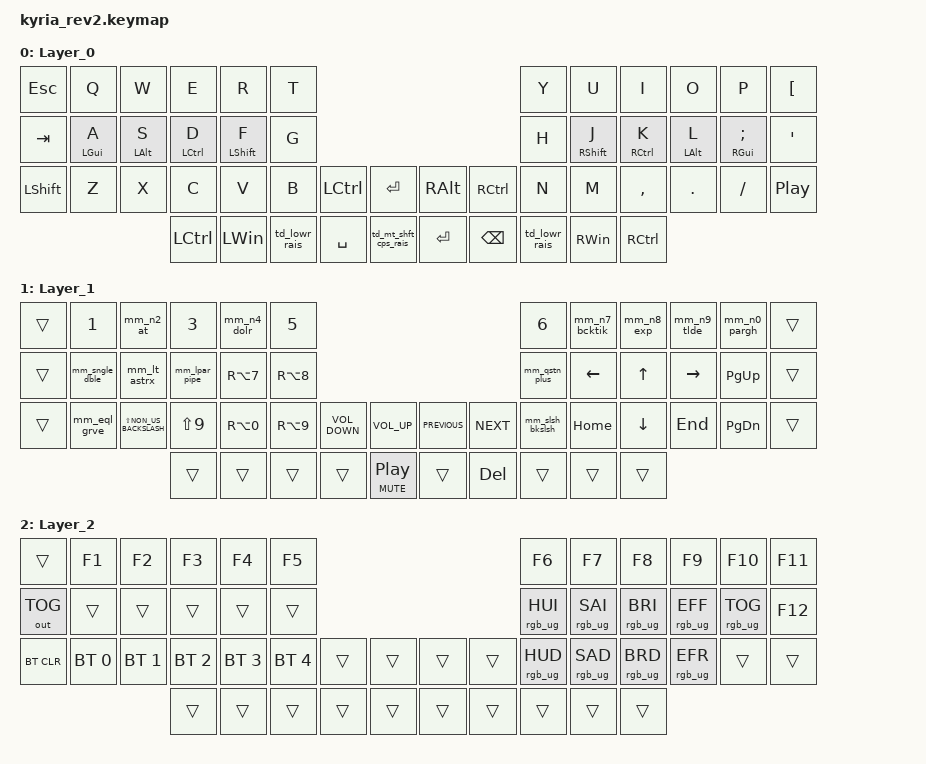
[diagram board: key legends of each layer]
// ################################################################
// ! This keymap is made to work with the SWEDISH keyboard layout !
// ################################################################

#include <behaviors.dtsi>
#include <dt-bindings/zmk/keys.h>
#include <dt-bindings/zmk/outputs.h>
#include <dt-bindings/zmk/rgb.h>
#include <dt-bindings/zmk/bt.h>
#include <dt-bindings/zmk/ext_power.h>
#include <dt-bindings/zmk/modifiers.h>

// (
#define SV_LPAR LS(N8)
// )
#define SV_RPAR LS(N9)
// {
#define SV_LBRAC RA(N7)
// }
#define SV_RBRAC RA(N0)
// [
#define SV_LBRAK RA(N8)
// ]
#define SV_RBRAK RA(N9)
// +
#define SV_PLUS MINUS
// ?
#define SV_QUESTION LS(MINUS)
// å
#define SV_AO LEFT_BRACKET
// ä
#define SV_AE SQT
// ö
#define SV_OE SEMICOLON
// '
#define SV_SINGLEQ BACKSLASH
// "
#define SV_DOUBLEQ LS(N2)
// <
#define SV_LESS NON_US_BACKSLASH
// >
#define SV_GREA LS(NON_US_BACKSLASH)
// /
#define SV_SLASH LS(N7)
// Backslash
#define SV_BACKSLASH RA(MINUS)
// @
#define SV_AT RA(N2)
// |
#define SV_PIPE RA(NON_US_BACKSLASH)
// =
#define SV_EQUAL LS(N0)
// *
#define SV_ASTERIX LS(BACKSLASH)
// $
#define SV_DOLLAR RA(N4)
// `
#define SV_BACKTICK LS(EQUAL)
// ^
#define SV_EXPONENT LS(RIGHT_BRACKET)
// ~
#define SV_TILDE RA(RIGHT_BRACKET)
// §
#define SV_PARAGRAPH GRAVE
// ´
#define SV_GRAVE EQUAL

/ {
    combos {
        compatible = "zmk,combos";

        combo_layer_2 {
            timeout-ms = <100>;
            bindings = <&mo 2>;
            key-positions = <42 47>;
        };
    };

    behaviors {
        hm: homerow_mods {
            compatible = "zmk,behavior-hold-tap";
            label = "homerow mods";
            #binding-cells = <2>;
            tapping_term_ms = <170>;
            flavor = "tap-preferred";
            bindings = <&kp>, <&kp>;
        };

        td_mt_shft_cps_rais: td_mt_shft_cps_rais {
            compatible = "zmk,behavior-tap-dance";
            label = "shift caps raise";
            #binding-cells = <0>;
            tapping-term-ms = <200>;
            bindings = <&mt LSHIFT CAPSLOCK>, <&mo 2>;
        };

        td_lowr_rais: td_lowr_rais {
            compatible = "zmk,behavior-tap-dance";
            label = "lower raise";
            #binding-cells = <0>;
            tapping-term-ms = <200>;
            bindings = <&mo 1>, <&mo 2>;
        };

        mm_n2_at: mm_n2_at {
            compatible = "zmk,behavior-mod-morph";
            label = "mm_n2_at";
            #binding-cells = <0>;
            bindings = <&kp N2>, <&kp SV_AT>;
            mods = <(MOD_LSFT|MOD_RSFT)>;
        };

        mm_n4_dolr: mm_n4_dolr {
            compatible = "zmk,behavior-mod-morph";
            label = "mm_n4_dolr";
            #binding-cells = <0>;
            bindings = <&kp N4>, <&kp SV_DOLLAR>;
            mods = <(MOD_LSFT|MOD_RSFT)>;
        };

        mm_n7_bcktik: mm_n7_bcktik {
            compatible = "zmk,behavior-mod-morph";
            label = "mm_n7_bcktik";
            #binding-cells = <0>;
            bindings = <&kp N7>, <&kp SV_BACKTICK>;
            mods = <(MOD_LSFT|MOD_RSFT)>;
            keep-mods = <(MOD_LSFT|MOD_RSFT)>;
        };

        mm_n8_exp: mm_n8_exp {
            compatible = "zmk,behavior-mod-morph";
            label = "mm_n8_exp";
            #binding-cells = <0>;
            bindings = <&kp N8>, <&kp SV_EXPONENT>;
            mods = <(MOD_LSFT|MOD_RSFT)>;
            keep-mods = <(MOD_LSFT|MOD_RSFT)>;
        };

        mm_n9_tlde: mm_n9_tlde {
            compatible = "zmk,behavior-mod-morph";
            label = "mm_n9_tlde";
            #binding-cells = <0>;
            bindings = <&kp N9>, <&kp SV_TILDE>;
            mods = <(MOD_LSFT|MOD_RSFT)>;
        };

        mm_n0_pargh: mm_n0_pargh {
            compatible = "zmk,behavior-mod-morph";
            label = "mm_n0_pargh";
            #binding-cells = <0>;
            bindings = <&kp N0>, <&kp SV_PARAGRAPH>;
            mods = <(MOD_LSFT|MOD_RSFT)>;
            keep-mods = <(MOD_LSFT|MOD_RSFT)>;
        };

        mm_sngle_dble: mm_sngle_dble {
            compatible = "zmk,behavior-mod-morph";
            label = "mm_sngle_dble";
            #binding-cells = <0>;
            bindings = <&kp SV_DOUBLEQ>, <&kp SV_SINGLEQ>;
            mods = <(MOD_LSFT|MOD_RSFT)>;
        };

        mm_eql_grve: mm_eql_grve {
            compatible = "zmk,behavior-mod-morph";
            label = "mm_eql_grve";
            #binding-cells = <0>;
            bindings = <&kp SV_EQUAL>, <&kp SV_GRAVE>;
            mods = <(MOD_LSFT|MOD_RSFT)>;
        };

        mm_lpar_pipe: mm_lpar_pipe {
            compatible = "zmk,behavior-mod-morph";
            label = "mm_lpar_pipe";
            #binding-cells = <0>;
            bindings = <&kp SV_LPAR>, <&kp SV_PIPE>;
            mods = <(MOD_LSFT|MOD_RSFT)>;
        };

        mm_lt_astrx: mm_lt_astrx {
            compatible = "zmk,behavior-mod-morph";
            label = "mm_lt_astrx";
            #binding-cells = <0>;
            bindings = <&kp SV_LESS>, <&kp SV_ASTERIX>;
            mods = <(MOD_LSFT|MOD_RSFT)>;
        };

        mm_qstn_plus: mm_qstn_plus {
            compatible = "zmk,behavior-mod-morph";
            label = "mm_qstn_plus";
            #binding-cells = <0>;
            bindings = <&kp SV_QUESTION>, <&kp SV_PLUS>;
            mods = <(MOD_LSFT|MOD_RSFT)>;
        };

        mm_slsh_bkslsh: mm_slsh_bkslsh {
            compatible = "zmk,behavior-mod-morph";
            label = "mm_slsh_bkslsh";
            #binding-cells = <0>;
            bindings = <&kp SV_SLASH>, <&kp SV_BACKSLASH>;
            mods = <(MOD_LSFT|MOD_RSFT)>;
        };
    };

    keymap {
        compatible = "zmk,keymap";

        Layer_0 {
            // -------------------------------------------------------------------------------------------------------------------------
            // |  ESC  |  Q  |  W  |   E   |  R   |  T  |                                    |  Y  |  U   |   I   |  O  |  P  |   Å   |
            // |  TAB  |  A  |  S  |   D   |  F   |  G  |                                    |  H  |  J   |   K   |  L  |  Ö  |   Ä   |
            // | SHIFT |  Z  |  X  |   C   |  V   |  B  | LCTRL | RETURN |  |  RALT  | RCTRL |  N  |  M   |  ,;   |  .: |  -  | SHIFT |
            //                     | LCTRL | LWIN | L 1 | SPACE | LSHIFT |  | RETURN | BKSPC | L 1 | RWIN | RCTRL |

            bindings = <
&kp ESC     &kp Q        &kp W        &kp E         &kp R          &kp T                                                                           &kp Y           &kp U          &kp I         &kp O        &kp P            &kp SV_AO
&kp TAB     &hm LGUI A   &hm LALT S   &hm LCTRL D   &hm LSHIFT F   &kp G                                                                           &kp H           &hm RSHIFT J   &hm RCTRL K   &hm LALT L   &hm RGUI SV_OE   &kp SV_AE
&kp LSHFT   &kp Z        &kp X        &kp C         &kp V          &kp B           &kp LCTRL   &kp RET                  &kp RALT   &kp RCTRL       &kp N           &kp M          &kp COMMA     &kp DOT      &kp SLASH        &kp C_PLAY_PAUSE
                                      &kp LCTRL     &kp LWIN       &td_lowr_rais   &kp SPACE   &td_mt_shft_cps_rais     &kp RET    &kp BACKSPACE   &td_lowr_rais   &kp RWIN       &kp RCTRL
            >;

            // sensor-bindings = <&inc_dec_kp C_VOLUME_UP C_VOLUME_DOWN>;
        };

        Layer_1 {
            // --------------------------------------------------------------------------------------------------------------------
            // |     | 1!  | 2@  | 3#  | 4$  | 5%  |                                       | 6&  |  7`  |  8^   |  9~  |  0§  |     |
            // |     | "'  | <*  | (|  |  {  |  [  |                                       | ?+  | LARR | UARR  | RARR | PGUP |     |
            // |     | =´  |  >  |  )  |  }  |  ]  | VOL D |  VOL U       |  | PREV | NEXT | /\  | HOME | DARR  | END  | PGDN |     |
            //                   |     |     |     | SPACE | PLPA -> MUTE |  |      | DEL  |     |      |       |

            bindings = <
&trans  &kp N1          &mm_n2_at     &kp N3         &mm_n4_dolr   &kp N5                                                                                    &kp N6           &mm_n7_bcktik   &mm_n8_exp      &mm_n9_tlde      &mm_n0_pargh     &trans
&trans  &mm_sngle_dble  &mm_lt_astrx  &mm_lpar_pipe  &kp SV_LBRAC  &kp SV_LBRAK                                                                              &mm_qstn_plus    &kp LEFT_ARROW  &kp UP_ARROW    &kp RIGHT_ARROW  &kp PG_UP        &trans
&trans  &mm_eql_grve    &kp SV_GREA   &kp SV_RPAR    &kp SV_RBRAC  &kp SV_RBRAK  &kp C_VOLUME_DOWN  &kp C_VOLUME_UP             &kp C_PREVIOUS  &kp C_NEXT   &mm_slsh_bkslsh  &kp HOME        &kp DOWN_ARROW  &kp END          &kp PG_DN        &trans
                                      &trans         &trans        &trans        &trans             &mt K_MUTE C_PLAY_PAUSE     &trans          &kp DEL      &trans           &trans          &trans
            >;
        };

        Layer_2 {
            // ------------------------------------------------------------------------------------------------------------
            // |         | F1   | F2   | F3   | F4   | F5   |                          |   F6    |   F7    |   F8    |   F9    |   F10   | F11 |
            // | OUT TGL |      |      |      |      |      |                          | RGB HUI | RGB SAI | RGB BRI | RGB EFF | RGB TOG | F12 |
            // | BT CLR  | BT 0 | BT 1 | BT 2 | BT 3 | BT 4 |     |     |  |     |     | RGB HUD | RGB SAD | RGB BRD | RGB EFR |         |     |
            //                         |      |      |      |     |     |  |     |     |         |         |         |

            bindings = <
&trans        &kp F1        &kp F2        &kp F3        &kp F4        &kp F5                                           &kp F6           &kp F7           &kp F8           &kp F9           &kp F10          &kp F11
&out OUT_TOG  &trans        &trans        &trans        &trans        &trans                                           &rgb_ug RGB_HUI  &rgb_ug RGB_SAI  &rgb_ug RGB_BRI  &rgb_ug RGB_EFF  &rgb_ug RGB_TOG  &kp F12
&bt BT_CLR    &bt BT_SEL 0  &bt BT_SEL 1  &bt BT_SEL 2  &bt BT_SEL 3  &bt BT_SEL 4  &trans  &trans     &trans  &trans  &rgb_ug RGB_HUD  &rgb_ug RGB_SAD  &rgb_ug RGB_BRD  &rgb_ug RGB_EFR  &trans           &trans
                                          &trans        &trans        &trans        &trans  &trans     &trans  &trans  &trans           &trans           &trans
            >;
        };
    };
};
